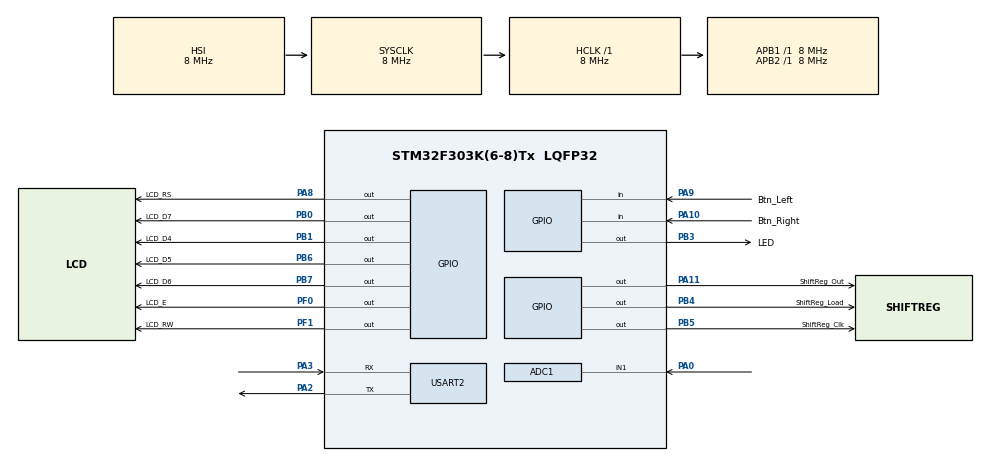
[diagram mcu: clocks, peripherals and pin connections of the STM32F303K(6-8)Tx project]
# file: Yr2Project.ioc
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ADC1.Channel-0\#ChannelRegularConversion=ADC_CHANNEL_1
ADC1.NbrOfConversionFlag=1
ADC1.Offset-0\#ChannelRegularConversion=0
ADC1.OffsetNumber-0\#ChannelRegularConversion=ADC_OFFSET_NONE
ADC1.Rank-0\#ChannelRegularConversion=1
ADC1.SamplingTime-0\#ChannelRegularConversion=ADC_SAMPLETIME_1CYCLE_5
ADC1.SamplingTimeOPAMP-0\#ChannelRegularConversion=ADC_SAMPLETIME_4CYCLES_5
ADC1.SubFamily=STM32F303x8
ADC1.master=1
Mcu.Family=STM32F3
Mcu.Name=STM32F303K(6-8)Tx
Mcu.Package=LQFP32
NVIC.PriorityGroup=NVIC_PRIORITYGROUP_4
PA0.Signal=SharedAnalog_PA0
PA10.GPIO_Label=Btn_Right
PA10.GPIO_PuPd=GPIO_PULLUP
PA10.Signal=GPIO_Input
PA11.GPIO_Label=ShiftReg_Out
PA11.Signal=GPIO_Output
PA2.Mode=Asynchronous
PA2.Signal=USART2_TX
PA3.Mode=Asynchronous
PA3.Signal=USART2_RX
PA8.GPIO_Label=LCD_RS
PA8.Signal=GPIO_Output
PA9.GPIO_Label=Btn_Left
PA9.GPIO_PuPd=GPIO_PULLUP
PA9.Signal=GPIO_Input
PB0.GPIO_Label=LCD_D7
PB0.Signal=GPIO_Output
PB1.GPIO_Label=LCD_D4
PB1.Signal=GPIO_Output
PB3.GPIO_Label=LED
PB3.Signal=GPIO_Output
PB4.GPIO_Label=ShiftReg_Load
PB4.Signal=GPIO_Output
PB5.GPIO_Label=ShiftReg_Clk
PB5.Signal=GPIO_Output
PB6.GPIO_Label=LCD_D5
PB6.Signal=GPIO_Output
PB7.GPIO_Label=LCD_D6
PB7.Signal=GPIO_Output
PF0\ /\ OSC_IN.GPIO_Label=LCD_E
PF0\ /\ OSC_IN.Signal=GPIO_Output
PF1\ /\ OSC_OUT.GPIO_Label=LCD_RW
PF1\ /\ OSC_OUT.Signal=GPIO_Output
ProjectManager.HeapSize=0x200
ProjectManager.StackSize=0x400
ProjectManager.TargetToolchain=STM32CubeIDE
RCC.AHBFreq_Value=8000000
RCC.APB1Freq_Value=8000000
RCC.APB2Freq_Value=8000000
RCC.APB2TimFreq_Value=8000000
RCC.CortexFreq_Value=8000000
RCC.HSE_VALUE=8000000
RCC.HSI_VALUE=8000000
RCC.PLLMUL=RCC_PLL_MUL4
RCC.SYSCLKFreq_VALUE=8000000
SH.SharedAnalog_PA0.0=GPIO_Analog
SH.SharedAnalog_PA0.1=ADC1_IN1,IN1-Single-Ended
TIM16.Prescaler=80-1
USART2.VirtualMode-Asynchronous=VM_ASYNC
VP_TIM16_VS_ClockSourceINT.Mode=Enable_Timer
board=custom

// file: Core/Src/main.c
/* USER CODE BEGIN Header */
/**
  ******************************************************************************
  * @file           : main.c
  * @brief          : Main program body
  ******************************************************************************
  * @attention
  *
  * Copyright (c) 2025 STMicroelectronics.
  * All rights reserved.
  *
  * This software is licensed under terms that can be found in the LICENSE file
  * in the root directory of this software component.
  * If no LICENSE file comes with this software, it is provided AS-IS.
  *
  ******************************************************************************
  */
/* USER CODE END Header */
#include "main.h"

/* USER CODE BEGIN Includes */
#include "DAJP_F303K8_Driver/DAJP_F303K8_Driver.h"
#include <string.h>
#include <stdio.h>
#include <math.h>
/* USER CODE END Includes */

ADC_HandleTypeDef hadc1;

TIM_HandleTypeDef htim16;

UART_HandleTypeDef huart2;

void SystemClock_Config(void);
static void MX_GPIO_Init(void);
static void MX_ADC1_Init(void);
static void MX_USART2_UART_Init(void);
static void MX_TIM16_Init(void);

/* USER CODE BEGIN 0 */
double ADC_to_Voltage(int ADCValue) {
	return ADCValue*3.3/4095;
}

double resistanceCalculator(int reference_resistance, double voltage_value) {
	// minus 0.7 from the diode
	return reference_resistance*voltage_value/(3.3-0.7-voltage_value);
}

double timToTime(int timValue) {
	// maxvalue of timer is 65535, the max time the timer can run is 0.6554, so the frequnecy is 100kHz
	return timValue * 1e-5;
}

void LCR_UnitConverter(double value, char* output) {
    const char* units[] = { "f", "p", "n", "µ", "m", "", "k", "M" };
    const double multipliers[] = { 1e-15, 1e-12, 1e-9, 1e-6, 1e-3, 1, 1e3, 1e6 };

    for (int i = 7; i >= 0; i--) {
        if (fabs(value) < multipliers[i]) continue;
        double scaled = value / multipliers[i];
        sprintf(output, "%.2f%s", scaled, units[i]);
        return;
    }
    sprintf(output, "%.2f", value);
}
/* USER CODE END 0 */

int main(void)
{

  /* USER CODE BEGIN 1 */
  uint16_t raw;
  char msg[50];
  char formattedNum[20];
  uint16_t selected_resistors_mask;
  uint32_t selected_resistor_value;
  uint16_t timer_val;
  int capCharged = 0;
  double factor;
//  int reference_res;

  /* USER CODE END 1 */

  /* MCU Configuration--------------------------------------------------------*/

  /* Reset of all peripherals, Initializes the Flash interface and the Systick. */
  HAL_Init();

  /* Configure the system clock */
  SystemClock_Config();

  /* Initialize all configured peripherals */
  MX_GPIO_Init();
  MX_ADC1_Init();
  MX_USART2_UART_Init();
  MX_TIM16_Init();
  /* USER CODE BEGIN 2 */
  LCR_LCD_Init();

  LCR_ShiftReg_Init();
  HAL_TIM_Base_Start(&htim16);
  /* USER CODE END 2 */

  /* Infinite loop */
  /* USER CODE BEGIN WHILE */
  HAL_GPIO_WritePin(LED_GPIO_Port, LED_Pin, GPIO_PIN_RESET);
  while (1)
  {
	HAL_ADC_Start(&hadc1);
	HAL_ADC_PollForConversion(&hadc1, HAL_MAX_DELAY);
	raw = HAL_ADC_GetValue(&hadc1);
//	if (raw >= 2580) {
//		// capacitor charged
//		timer_val = __HAL_TIM_GET_COUNTER(&htim16);
//	}

	selected_resistors_mask = LCR_ShiftReg_ReadBits();

	switch (selected_resistors_mask) {
	case 0b1000000000000000:
		selected_resistor_value = 2226200; // 2M2
		break;
	case 0b0100000000000000:
		selected_resistor_value = 998500; // 1M
		break;
	case 0b0010000000000000:
		selected_resistor_value = 469920; // 470k
		break;
	case 0b0001000000000000:
		selected_resistor_value = 220220; // 220k
		break;
	case 0b0000100000000000:
		selected_resistor_value = 98860; // 100k
		break;
	case 0b0000010000000000:
		selected_resistor_value = 46908; // 47k
		break;
	case 0b0000001000000000:
		selected_resistor_value = 21921; // 22k
		break;
	case 0b0000000100000000:
		selected_resistor_value = 9954; // 10k
		break;
	case 0b0000000010000000:
		selected_resistor_value = 4676; // 4k7
		break;
	case 0b0000000001000000:
		selected_resistor_value = 2195; // 2k2
		break;
	case 0b0000000000100000:
		selected_resistor_value = 995; // 1k
		break;
	}

	// 1613.1818181818 is ideal, round to 1610, 300 range
	if (raw > 1310 && raw < 1910) {
		HAL_GPIO_WritePin(LED_GPIO_Port, LED_Pin, GPIO_PIN_SET);
	} else {
		HAL_GPIO_WritePin(LED_GPIO_Port, LED_Pin, GPIO_PIN_RESET);
	}

	double voltage = ADC_to_Voltage(raw);

	switch (selected_resistor_value) {
		case 998500:
		case 2226200:
			factor = 0.8772;
			break;
		case 469920:
		case 220220: // maybe
			factor = 0.8835;
			break;
		case 98860:
			factor = 0.905;
			break;
		case 46908:
		case 21921:
			factor = 0.9569;
			break;
		case 9954:
			factor = 0.9551;
			break;
		case 4676:
			factor = 0.9542;
			break;
		case 2195:
			factor = 0.9783;
			break;
		case 995:
			factor = 1.006;
			break;
	}

	LCR_UnitConverter(resistanceCalculator(selected_resistor_value, voltage)*factor, formattedNum);
	sprintf(msg, "resistance %sΩ", formattedNum);
	LCR_LCD_Clear();
	LCR_LCD_WriteString(formattedNum, strlen(formattedNum));

	LCR_UnitConverter(voltage, formattedNum);
	sprintf(msg + strlen(msg), " voltage %sV", formattedNum);

	sprintf(msg + strlen(msg), " raw %d", raw);

	LCR_UnitConverter(selected_resistor_value, formattedNum);
	sprintf(msg + strlen(msg), " selected resistor %sΩ", formattedNum);

	// for 470k factor is 0.8835 ref 470k
	// for 100k factor is 0.905 ref 100k
	// for 1M factor is 0.8772 ref 1M
	// for 20k factor is 0.9569 ref 2.2k
	// for 10k factor is 0.9551 ref 10k
	// for 5k factor is 0.9542 ref 4.7k
	// for 2.7k factor is 0.9783 ref 2.2k
	// for 1k factor is 1.006  ref 1k

	//	if (capCharged) {
//		sprintf(msg + strlen(msg), " %d", timer_val);
//	}
	sprintf(msg + strlen(msg), "\r\n");
	HAL_UART_Transmit(&huart2, (uint8_t*)msg, strlen(msg), HAL_MAX_DELAY);
	HAL_Delay(1);
    /* USER CODE END WHILE */

  }
}

void SystemClock_Config(void)
{
  RCC_OscInitTypeDef RCC_OscInitStruct = {0};
  RCC_ClkInitTypeDef RCC_ClkInitStruct = {0};
  RCC_PeriphCLKInitTypeDef PeriphClkInit = {0};

  /** Initializes the RCC Oscillators according to the specified parameters
  * in the RCC_OscInitTypeDef structure.
  */
  RCC_OscInitStruct.OscillatorType = RCC_OSCILLATORTYPE_HSI;
  RCC_OscInitStruct.HSIState = RCC_HSI_ON;
  RCC_OscInitStruct.HSICalibrationValue = RCC_HSICALIBRATION_DEFAULT;
  RCC_OscInitStruct.PLL.PLLState = RCC_PLL_ON;
  RCC_OscInitStruct.PLL.PLLSource = RCC_PLLSOURCE_HSI;
  RCC_OscInitStruct.PLL.PLLMUL = RCC_PLL_MUL4;
  if (HAL_RCC_OscConfig(&RCC_OscInitStruct) != HAL_OK)
  {
    Error_Handler();
  }

  /** Initializes the CPU, AHB and APB buses clocks
  */
  RCC_ClkInitStruct.ClockType = RCC_CLOCKTYPE_HCLK|RCC_CLOCKTYPE_SYSCLK
                              |RCC_CLOCKTYPE_PCLK1|RCC_CLOCKTYPE_PCLK2;
  RCC_ClkInitStruct.SYSCLKSource = RCC_SYSCLKSOURCE_HSI;
  RCC_ClkInitStruct.AHBCLKDivider = RCC_SYSCLK_DIV1;
  RCC_ClkInitStruct.APB1CLKDivider = RCC_HCLK_DIV1;
  RCC_ClkInitStruct.APB2CLKDivider = RCC_HCLK_DIV1;

  if (HAL_RCC_ClockConfig(&RCC_ClkInitStruct, FLASH_LATENCY_0) != HAL_OK)
  {
    Error_Handler();
  }
  PeriphClkInit.PeriphClockSelection = RCC_PERIPHCLK_ADC12;
  PeriphClkInit.Adc12ClockSelection = RCC_ADC12PLLCLK_DIV1;
  if (HAL_RCCEx_PeriphCLKConfig(&PeriphClkInit) != HAL_OK)
  {
    Error_Handler();
  }
}

static void MX_ADC1_Init(void)
{

  ADC_MultiModeTypeDef multimode = {0};
  ADC_ChannelConfTypeDef sConfig = {0};

  /** Common config
  */
  hadc1.Instance = ADC1;
  hadc1.Init.ClockPrescaler = ADC_CLOCK_ASYNC_DIV1;
  hadc1.Init.Resolution = ADC_RESOLUTION_12B;
  hadc1.Init.ScanConvMode = ADC_SCAN_DISABLE;
  hadc1.Init.ContinuousConvMode = DISABLE;
  hadc1.Init.DiscontinuousConvMode = DISABLE;
  hadc1.Init.ExternalTrigConvEdge = ADC_EXTERNALTRIGCONVEDGE_NONE;
  hadc1.Init.ExternalTrigConv = ADC_SOFTWARE_START;
  hadc1.Init.DataAlign = ADC_DATAALIGN_RIGHT;
  hadc1.Init.NbrOfConversion = 1;
  hadc1.Init.DMAContinuousRequests = DISABLE;
  hadc1.Init.EOCSelection = ADC_EOC_SINGLE_CONV;
  hadc1.Init.LowPowerAutoWait = DISABLE;
  hadc1.Init.Overrun = ADC_OVR_DATA_OVERWRITTEN;
  if (HAL_ADC_Init(&hadc1) != HAL_OK)
  {
    Error_Handler();
  }

  /** Configure the ADC multi-mode
  */
  multimode.Mode = ADC_MODE_INDEPENDENT;
  if (HAL_ADCEx_MultiModeConfigChannel(&hadc1, &multimode) != HAL_OK)
  {
    Error_Handler();
  }

  /** Configure Regular Channel
  */
  sConfig.Channel = ADC_CHANNEL_1;
  sConfig.Rank = ADC_REGULAR_RANK_1;
  sConfig.SingleDiff = ADC_SINGLE_ENDED;
  sConfig.SamplingTime = ADC_SAMPLETIME_1CYCLE_5;
  sConfig.OffsetNumber = ADC_OFFSET_NONE;
  sConfig.Offset = 0;
  if (HAL_ADC_ConfigChannel(&hadc1, &sConfig) != HAL_OK)
  {
    Error_Handler();
  }

}

static void MX_TIM16_Init(void)
{

  htim16.Instance = TIM16;
  htim16.Init.Prescaler = 80-1;
  htim16.Init.CounterMode = TIM_COUNTERMODE_UP;
  htim16.Init.Period = 65535;
  htim16.Init.ClockDivision = TIM_CLOCKDIVISION_DIV1;
  htim16.Init.RepetitionCounter = 0;
  htim16.Init.AutoReloadPreload = TIM_AUTORELOAD_PRELOAD_DISABLE;
  if (HAL_TIM_Base_Init(&htim16) != HAL_OK)
  {
    Error_Handler();
  }

}

static void MX_USART2_UART_Init(void)
{

  huart2.Instance = USART2;
  huart2.Init.BaudRate = 38400;
  huart2.Init.WordLength = UART_WORDLENGTH_8B;
  huart2.Init.StopBits = UART_STOPBITS_1;
  huart2.Init.Parity = UART_PARITY_NONE;
  huart2.Init.Mode = UART_MODE_TX_RX;
  huart2.Init.HwFlowCtl = UART_HWCONTROL_NONE;
  huart2.Init.OverSampling = UART_OVERSAMPLING_16;
  huart2.Init.OneBitSampling = UART_ONE_BIT_SAMPLE_DISABLE;
  huart2.AdvancedInit.AdvFeatureInit = UART_ADVFEATURE_NO_INIT;
  if (HAL_UART_Init(&huart2) != HAL_OK)
  {
    Error_Handler();
  }

}

static void MX_GPIO_Init(void)
{
  GPIO_InitTypeDef GPIO_InitStruct = {0};

  /* GPIO Ports Clock Enable */
  __HAL_RCC_GPIOF_CLK_ENABLE();
  __HAL_RCC_GPIOA_CLK_ENABLE();
  __HAL_RCC_GPIOB_CLK_ENABLE();

  /*Configure GPIO pin Output Level */
  HAL_GPIO_WritePin(GPIOF, LCD_E_Pin|LCD_RW_Pin, GPIO_PIN_RESET);

  /*Configure GPIO pin Output Level */
  HAL_GPIO_WritePin(GPIOB, LCD_D7_Pin|LCD_D4_Pin|LED_Pin|ShiftReg_Load_Pin
                          |ShiftReg_Clk_Pin|LCD_D5_Pin|LCD_D6_Pin, GPIO_PIN_RESET);

  /*Configure GPIO pin Output Level */
  HAL_GPIO_WritePin(GPIOA, LCD_RS_Pin|ShiftReg_Out_Pin, GPIO_PIN_RESET);

  /*Configure GPIO pins : LCD_E_Pin LCD_RW_Pin */
  GPIO_InitStruct.Pin = LCD_E_Pin|LCD_RW_Pin;
  GPIO_InitStruct.Mode = GPIO_MODE_OUTPUT_PP;
  GPIO_InitStruct.Pull = GPIO_NOPULL;
  GPIO_InitStruct.Speed = GPIO_SPEED_FREQ_LOW;
  HAL_GPIO_Init(GPIOF, &GPIO_InitStruct);

  /*Configure GPIO pins : LCD_D7_Pin LCD_D4_Pin LED_Pin ShiftReg_Load_Pin
                           ShiftReg_Clk_Pin LCD_D5_Pin LCD_D6_Pin */
  GPIO_InitStruct.Pin = LCD_D7_Pin|LCD_D4_Pin|LED_Pin|ShiftReg_Load_Pin
                          |ShiftReg_Clk_Pin|LCD_D5_Pin|LCD_D6_Pin;
  GPIO_InitStruct.Mode = GPIO_MODE_OUTPUT_PP;
  GPIO_InitStruct.Pull = GPIO_NOPULL;
  GPIO_InitStruct.Speed = GPIO_SPEED_FREQ_LOW;
  HAL_GPIO_Init(GPIOB, &GPIO_InitStruct);

  /*Configure GPIO pins : LCD_RS_Pin ShiftReg_Out_Pin */
  GPIO_InitStruct.Pin = LCD_RS_Pin|ShiftReg_Out_Pin;
  GPIO_InitStruct.Mode = GPIO_MODE_OUTPUT_PP;
  GPIO_InitStruct.Pull = GPIO_NOPULL;
  GPIO_InitStruct.Speed = GPIO_SPEED_FREQ_LOW;
  HAL_GPIO_Init(GPIOA, &GPIO_InitStruct);

  /*Configure GPIO pins : Btn_Left_Pin Btn_Right_Pin */
  GPIO_InitStruct.Pin = Btn_Left_Pin|Btn_Right_Pin;
  GPIO_InitStruct.Mode = GPIO_MODE_INPUT;
  GPIO_InitStruct.Pull = GPIO_PULLUP;
  HAL_GPIO_Init(GPIOA, &GPIO_InitStruct);

}

void Error_Handler(void)
{
  __disable_irq();
  while (1)
  {
  }
}
